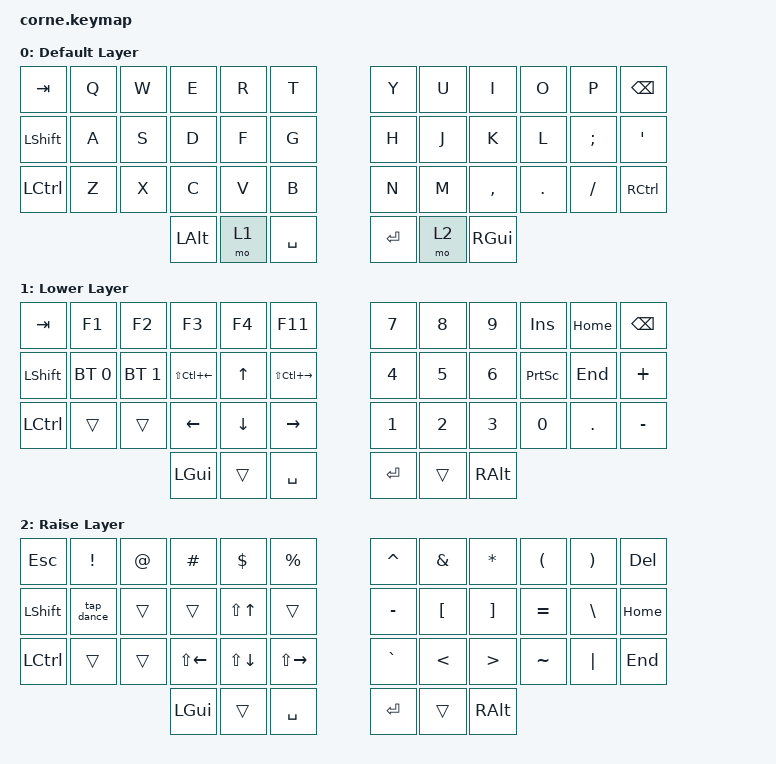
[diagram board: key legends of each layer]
/*
 * Copyright (c) 2020 The ZMK Contributors
 *
 * SPDX-License-Identifier: MIT
 */

#include <behaviors.dtsi>
#include <dt-bindings/zmk/bt.h>
#include <dt-bindings/zmk/keys.h>

/ {
    behaviors {
        tap_dance: tap_dance {
            compatible = "zmk,behavior-tap-dance";
            label = "TAP_DANCE";
            #binding-cells = <0>;
            bindings = <&kp HOME>, <&kp END>;
        };
    };

    combos {
        compatible = "zmk,combos";

        escape_combo {
            bindings = <&kp ESCAPE>;
            key-positions = <0 1>;
        };
    };

    keymap {
        compatible = "zmk,keymap";

        default_layer {
            display-name = "Default Layer";

            // -----------------------------------------------------------------------------------------
            // |  TAB |  Q  |  W  |  E  |  R  |  T  |   |  Y  |  U   |  I  |  O  |  P  | BSPC |
            // | SHFT |  A  |  S  |  D  |  F  |  G  |   |  H  |  J   |  K  |  L  |  ;  |  '   |
            // | CTRL |  Z  |  X  |  C  |  V  |  B  |   |  N  |  M   |  ,  |  .  |  /  | ESC  |
            //                    | GUI | LWR | SPC |   | ENT | RSE  | ALT |

            bindings = <
&kp TAB    &kp Q  &kp W  &kp E         &kp R  &kp T        &kp Y    &kp U  &kp I          &kp O       &kp P      &kp BSPC
&kp LSHFT  &kp A  &kp S  &kp D         &kp F  &kp G        &kp H    &kp J  &kp K          &kp L       &kp SEMI   &kp SQT
&kp LCTRL  &kp Z  &kp X  &kp C         &kp V  &kp B        &kp N    &kp M  &kp COMMA      &kp PERIOD  &kp SLASH  &kp RCTRL
                         &kp LEFT_ALT  &mo 1  &kp SPACE    &kp RET  &mo 2  &kp RIGHT_GUI
            >;
        };

        lower_layer {
            display-name = "Lower Layer";

            // -----------------------------------------------------------------------------------------
            // |  TAB |  1  |  2  |  3  |  4  |  5  |   |  6  |  7  |  8  |  9  |  0  | BSPC |
            // | BTCLR| BT1 | BT2 | BT3 | BT4 | BT5 |   | LFT | DWN |  UP | RGT |     |      |
            // | SHFT |     |     |     |     |     |   |     |     |     |     |     |      |
            //                    | GUI |     | SPC |   | ENT |     | ALT |

            bindings = <
&kp TAB    &kp F1        &kp F2        &kp F3            &kp F4    &kp F11              &kp NUMBER_7  &kp NUMBER_8  &kp NUMBER_9  &kp INSERT       &kp HOME    &kp BSPC
&kp LSHFT  &bt BT_SEL 0  &bt BT_SEL 1  &kp LS(LC(LEFT))  &kp UP    &kp LS(LC(RIGHT))    &kp NUMBER_4  &kp NUMBER_5  &kp NUMBER_6  &kp PRINTSCREEN  &kp END     &kp PLUS
&kp LCTRL  &trans        &trans        &kp LEFT          &kp DOWN  &kp RIGHT            &kp NUMBER_1  &kp NUMBER_2  &kp NUMBER_3  &kp N0           &kp PERIOD  &kp MINUS
                                       &kp LGUI          &trans    &kp SPACE            &kp RET       &trans        &kp RALT
            >;
        };

        raise_layer {
            display-name = "Raise Layer";

            // -----------------------------------------------------------------------------------------
            // |  TAB |  !  |  @  |  #  |  $  |  %  |   |  ^  |  &  |  *  |  (  |  )  | BSPC |
            // | SHFT |     |     |     |     |     |   |  -  |  =  |  [  |  ]  |  \  |  `   |
            // | CTRL |     |     |     |     |     |   |  _  |  +  |  {  |  }  | "|" |  ~   |
            //                    | GUI |     | SPC |   | ENT |     | ALT |

            bindings = <
&kp ESCAPE  &kp EXCL    &kp AT  &kp HASH      &kp DLLR          &kp PRCNT        &kp CARET  &kp AMPS          &kp ASTRK          &kp LPAR   &kp RPAR  &kp DELETE
&kp LSHFT   &tap_dance  &trans  &trans        &kp LS(UP_ARROW)  &trans           &kp MINUS  &kp LEFT_BRACKET  &kp RIGHT_BRACKET  &kp EQUAL  &kp BSLH  &kp HOME
&kp LCTRL   &trans      &trans  &kp LS(LEFT)  &kp LS(DOWN)      &kp LS(RIGHT)    &kp GRAVE  &kp LESS_THAN     &kp GREATER_THAN   &kp TILDE  &kp PIPE  &kp END
                                &kp LGUI      &trans            &kp SPACE        &kp RET    &trans            &kp RALT
            >;
        };
    };
};
